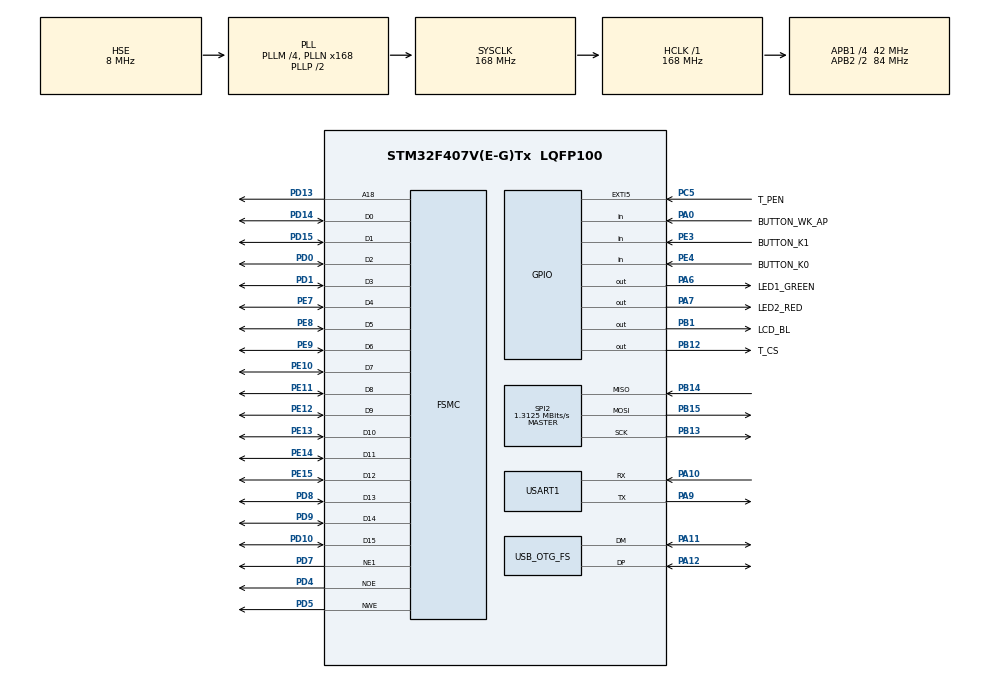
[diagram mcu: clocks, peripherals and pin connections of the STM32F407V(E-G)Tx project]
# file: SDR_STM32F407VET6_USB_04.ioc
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Mcu.Family=STM32F4
Mcu.Name=STM32F407V(E-G)Tx
Mcu.Package=LQFP100
NVIC.EXTI9_5_IRQn=true\:0\:0\:false\:false\:true\:true\:true\:true
NVIC.OTG_FS_IRQn=true\:0\:0\:false\:false\:true\:false\:true\:true
NVIC.PriorityGroup=NVIC_PRIORITYGROUP_4
PA0-WKUP.GPIO_Label=BUTTON_WK_AP
PA0-WKUP.Signal=GPIO_Input
PA10.Mode=Asynchronous
PA10.Signal=USART1_RX
PA11.Mode=Host_Only
PA11.Signal=USB_OTG_FS_DM
PA12.Mode=Host_Only
PA12.Signal=USB_OTG_FS_DP
PA6.GPIO_Label=LED1_GREEN
PA6.Signal=GPIO_Output
PA7.GPIO_Label=LED2_RED
PA7.Signal=GPIO_Output
PA9.Mode=Asynchronous
PA9.Signal=USART1_TX
PB1.GPIO_Label=LCD_BL
PB1.Signal=GPIO_Output
PB12.GPIO_Label=T_CS
PB12.GPIO_PuPd=GPIO_PULLUP
PB12.GPIO_Speed=GPIO_SPEED_FREQ_HIGH
PB12.PinState=GPIO_PIN_SET
PB12.Signal=GPIO_Output
PB13.Mode=Full_Duplex_Master
PB13.Signal=SPI2_SCK
PB14.Mode=Full_Duplex_Master
PB14.Signal=SPI2_MISO
PB15.Mode=Full_Duplex_Master
PB15.Signal=SPI2_MOSI
PC5.GPIO_Label=T_PEN
PC5.GPIO_ModeDefaultEXTI=GPIO_MODE_IT_FALLING
PC5.GPIO_PuPd=GPIO_PULLUP
PC5.Signal=GPXTI5
PD0.Mode=16b-d1
PD0.Signal=FSMC_D2
PD1.Mode=16b-d1
PD1.Signal=FSMC_D3
PD10.Mode=16b-d1
PD10.Signal=FSMC_D15
PD13.Mode=A18_1
PD13.Signal=FSMC_A18
PD14.Mode=16b-d1
PD14.Signal=FSMC_D0
PD15.Mode=16b-d1
PD15.Signal=FSMC_D1
PD4.Mode=Lcd1
PD4.Signal=FSMC_NOE
PD5.Mode=Lcd1
PD5.Signal=FSMC_NWE
PD7.Mode=NorPsramChipSelect1_1
PD7.Signal=FSMC_NE1
PD8.Mode=16b-d1
PD8.Signal=FSMC_D13
PD9.Mode=16b-d1
PD9.Signal=FSMC_D14
PE10.Mode=16b-d1
PE10.Signal=FSMC_D7
PE11.Mode=16b-d1
PE11.Signal=FSMC_D8
PE12.Mode=16b-d1
PE12.Signal=FSMC_D9
PE13.Mode=16b-d1
PE13.Signal=FSMC_D10
PE14.Mode=16b-d1
PE14.Signal=FSMC_D11
PE15.Mode=16b-d1
PE15.Signal=FSMC_D12
PE3.GPIO_Label=BUTTON_K1
PE3.Signal=GPIO_Input
PE4.GPIO_Label=BUTTON_K0
PE4.Signal=GPIO_Input
PE7.Mode=16b-d1
PE7.Signal=FSMC_D4
PE8.Mode=16b-d1
PE8.Signal=FSMC_D5
PE9.Mode=16b-d1
PE9.Signal=FSMC_D6
PH0-OSC_IN.Mode=HSE-External-Oscillator
PH0-OSC_IN.Signal=RCC_OSC_IN
PH1-OSC_OUT.Mode=HSE-External-Oscillator
PH1-OSC_OUT.Signal=RCC_OSC_OUT
ProjectManager.HeapSize=0x400
ProjectManager.StackSize=0x400
ProjectManager.TargetToolchain=MDK-ARM V5.32
RCC.48MHZClocksFreq_Value=48000000
RCC.AHBFreq_Value=168000000
RCC.APB1CLKDivider=RCC_HCLK_DIV4
RCC.APB1Freq_Value=42000000
RCC.APB1TimFreq_Value=84000000
RCC.APB2CLKDivider=RCC_HCLK_DIV2
RCC.APB2Freq_Value=84000000
RCC.APB2TimFreq_Value=168000000
RCC.CortexFreq_Value=168000000
RCC.HCLKFreq_Value=168000000
RCC.HSE_VALUE=8000000
RCC.HSICalibrationValue=8
RCC.HSI_VALUE=16000000
RCC.LSE_VALUE=32768
RCC.PLLM=4
RCC.PLLN=168
RCC.PLLQ=7
RCC.SYSCLKFreq_VALUE=168000000
RCC.SYSCLKSource=RCC_SYSCLKSOURCE_PLLCLK
RCC.VCOOutputFreq_Value=336000000
SPI2.BaudRatePrescaler=SPI_BAUDRATEPRESCALER_32
SPI2.CalculateBaudRate=1.3125 MBits/s
SPI2.Direction=SPI_DIRECTION_2LINES
SPI2.Mode=SPI_MODE_MASTER
SPI2.VirtualType=VM_MASTER
TIM3.Channel-Output\ Compare1\ No\ Output=TIM_CHANNEL_1
USART1.VirtualMode=VM_ASYNC
USB_HOST.USBH_DEBUG_LEVEL-HID_FS=2
USB_HOST.USBH_HandleTypeDef-HID_FS=hUsbHostFS
USB_HOST.VirtualModeFS=Hid
USB_OTG_FS.VirtualMode=Host_Only
USB_OTG_FS.phy_itface=HCD_PHY_EMBEDDED
VP_TIM3_VS_ClockSourceINT.Mode=Internal
VP_TIM3_VS_no_output1.Mode=Output Compare1 No Output
VP_USB_HOST_VS_USB_HOST_HID_FS.Mode=HID_FS
board=custom

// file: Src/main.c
/* USER CODE BEGIN Header */
/**
  ******************************************************************************
  * @file           : main.c
  * @brief          : Main program body
  ******************************************************************************
  * @attention
  *
  * Copyright (c) 2023 STMicroelectronics.
  * All rights reserved.
  *
  * This software is licensed under terms that can be found in the LICENSE file
  * in the root directory of this software component.
  * If no LICENSE file comes with this software, it is provided AS-IS.
  *
  ******************************************************************************
  */
/* USER CODE END Header */
#include "main.h"
#include "usb_host.h"

/* USER CODE BEGIN Includes */

#include "stdint.h"
#include "string.h"
#include <stdlib.h>
#include <stdio.h>

#include "XPT2046_touch.h"
#include "ili9341.h"

/* USER CODE END Includes */

/* USER CODE BEGIN PTD */

GPIO_TypeDef* GPIO_PORT[LEDn] = {LED1_GREEN_GPIO_Port,
                                 LED2_RED_GPIO_Port};

const uint16_t GPIO_PIN[LEDn] = {LED1_GREEN_Pin,
	                               LED2_RED_Pin};

void BSP_LED_On(Led_TypeDef Led)
{
  HAL_GPIO_WritePin(GPIO_PORT[Led], GPIO_PIN[Led], GPIO_PIN_RESET);
}

void BSP_LED_Off(Led_TypeDef Led)
{
  HAL_GPIO_WritePin(GPIO_PORT[Led], GPIO_PIN[Led], GPIO_PIN_SET);
}

void BSP_LED_Toggle(Led_TypeDef Led)
{
  HAL_GPIO_TogglePin(GPIO_PORT[Led], GPIO_PIN[Led]);
}

GPIO_TypeDef* BUTTON_PORT[BUTTONn] = {BUTTON_WK_AP_GPIO_Port,
                                      BUTTON_K0_GPIO_Port,
                                      BUTTON_K1_GPIO_Port};

const uint16_t BUTTON_PIN[BUTTONn] = {BUTTON_WK_AP_Pin,
                                      BUTTON_K0_Pin,
                                      BUTTON_K1_Pin};

const uint16_t BUTTON_IRQn[BUTTONn] = {BUTTON_WK_AP_EXTI_IRQn,
                                       BUTTON_K0_EXTI_IRQn,
                                       BUTTON_K1_EXTI_IRQn};

uint32_t BSP_PB_GetState(Button_TypeDef Button)
{
  return HAL_GPIO_ReadPin(BUTTON_PORT[Button], BUTTON_PIN[Button]);
}

/* USER CODE END PTD */

/* USER CODE BEGIN PD */

USBH_HandleTypeDef hUSBHost;
uint8_t currentScreen=0;

/* USER CODE END PD */

SPI_HandleTypeDef hspi2;

TIM_HandleTypeDef htim3;

UART_HandleTypeDef huart1;

SRAM_HandleTypeDef hsram1;

/* USER CODE BEGIN PV */

	#ifdef __GNUC__
  /* With GCC, small printf (option LD Linker->Libraries->Small printf
     set to 'Yes') calls __io_putchar() */
  #define PUTCHAR_PROTOTYPE int __io_putchar(int ch)
#else
  #define PUTCHAR_PROTOTYPE int fputc(int ch, FILE *f)
#endif /* __GNUC__ */

	static void USBH_UserProcess(USBH_HandleTypeDef *phost, uint8_t id);

/* USER CODE END PV */

void SystemClock_Config(void);
static void MX_GPIO_Init(void);
static void MX_USART1_UART_Init(void);
static void MX_FSMC_Init(void);
static void MX_SPI2_Init(void);
static void MX_TIM3_Init(void);
void MX_USB_HOST_Process(void);

/* USER CODE BEGIN 0 */
 uint16_t x = 0, y = 0;
 uint16_t xx = 0, y1 = 0;

 char str1[20];
 char str2[20];
 char str3[20];
 char str4[20];
 char str[20];
 bool flag1;
 uint16_t strw;
/* USER CODE END 0 */

int main(void)
{

  /* MCU Configuration--------------------------------------------------------*/

  /* Reset of all peripherals, Initializes the Flash interface and the Systick. */
  HAL_Init();

  /* Configure the system clock */
  SystemClock_Config();

  /* Initialize all configured peripherals */
  MX_GPIO_Init();
  MX_USART1_UART_Init();
  MX_USB_HOST_Init();
  MX_FSMC_Init();
  MX_SPI2_Init();
  MX_TIM3_Init();
  /* USER CODE BEGIN 2 */
	BSP_LED_Off(LED1);
	BSP_LED_Off(LED2);
	HAL_Delay(200);
	BSP_LED_On(LED1);
	BSP_LED_On(LED2);
	HAL_Delay(200);
	BSP_LED_Off(LED1);
	BSP_LED_Off(LED2);
	printf("Start system\r\n");

	lcdBacklightOn();
  lcdInit();
  lcdSetOrientation(LCD_ORIENTATION_LANDSCAPE);
  lcdFillRGB(COLOR_WHITE);

	lcdSetTextFont(&Font16);
	lcdSetTextColor(COLOR_WHITE, COLOR_BLUE);
	lcdFillRect(0,0,319,20,COLOR_BLUE);
	lcdSetCursor(2, 5);   // xy

	#ifdef USE_USB_HS
		//LCD_LOG_SetHeader((uint8_t *)" USB OTG HS RTLSDR Host");
		lcdPrintf(" STM32F4 USB HS RTL-SDR Host");
	#else
		lcdPrintf(" STM32F4 USB FS RTL-SDR Host");
	#endif

 //Start_TFT();// Test TFT

	  /* Init Host Library */
	 USBH_Init(&hUSBHost, USBH_UserProcess, 0);
	 /* Add Supported Class */
   USBH_RegisterClass(&hUSBHost, USBH_RTLSDR_CLASS);

	 /* Start Host Process */
   USBH_Start(&hUSBHost);

	 RTLSDR_HandleTypeDef *RTLSDR_Handle = (RTLSDR_HandleTypeDef*) hUSBHost.pActiveClass->pData;

//	uint8_t start_text[]="Hello from start\n\r";
//	HAL_UART_Transmit(&huart1,start_text,20,0xFFFF);

   printf("Start system END\r\n");
  /* USER CODE END 2 */

  /* Infinite loop */
  while (1)
  {
    MX_USB_HOST_Process();

    /* USER CODE BEGIN 3 */

		 USBH_Process(&hUSBHost);

//			if (RTLSDR_Handle->xferState==RTLSDR_XFER_COMPLETE)
//			{
//		    USBH_UsrLog("St %d", *RTLSDR_Handle);
//		    RTLSDR_Handle->xferState = RTLSDR_XFER_START;
//	    }

       if (flag1 ==1)         //  Флаг по которому мы определяем, что сработало прерывание
       {
        flag1 =0;     // Сбрасываем установившийся в подпрограмме прерывания флаг
    //    Test_TFT();
			 }
  }
  /* USER CODE END 3 */
}

void SystemClock_Config(void)
{
  RCC_OscInitTypeDef RCC_OscInitStruct = {0};
  RCC_ClkInitTypeDef RCC_ClkInitStruct = {0};

  /** Configure the main internal regulator output voltage
  */
  __HAL_RCC_PWR_CLK_ENABLE();
  __HAL_PWR_VOLTAGESCALING_CONFIG(PWR_REGULATOR_VOLTAGE_SCALE1);

  /** Initializes the RCC Oscillators according to the specified parameters
  * in the RCC_OscInitTypeDef structure.
  */
  RCC_OscInitStruct.OscillatorType = RCC_OSCILLATORTYPE_HSE;
  RCC_OscInitStruct.HSEState = RCC_HSE_ON;
  RCC_OscInitStruct.PLL.PLLState = RCC_PLL_ON;
  RCC_OscInitStruct.PLL.PLLSource = RCC_PLLSOURCE_HSE;
  RCC_OscInitStruct.PLL.PLLM = 4;
  RCC_OscInitStruct.PLL.PLLN = 168;
  RCC_OscInitStruct.PLL.PLLP = RCC_PLLP_DIV2;
  RCC_OscInitStruct.PLL.PLLQ = 7;
  if (HAL_RCC_OscConfig(&RCC_OscInitStruct) != HAL_OK)
  {
    Error_Handler();
  }

  /** Initializes the CPU, AHB and APB buses clocks
  */
  RCC_ClkInitStruct.ClockType = RCC_CLOCKTYPE_HCLK|RCC_CLOCKTYPE_SYSCLK
                              |RCC_CLOCKTYPE_PCLK1|RCC_CLOCKTYPE_PCLK2;
  RCC_ClkInitStruct.SYSCLKSource = RCC_SYSCLKSOURCE_PLLCLK;
  RCC_ClkInitStruct.AHBCLKDivider = RCC_SYSCLK_DIV1;
  RCC_ClkInitStruct.APB1CLKDivider = RCC_HCLK_DIV4;
  RCC_ClkInitStruct.APB2CLKDivider = RCC_HCLK_DIV2;

  if (HAL_RCC_ClockConfig(&RCC_ClkInitStruct, FLASH_LATENCY_5) != HAL_OK)
  {
    Error_Handler();
  }
}

static void MX_SPI2_Init(void)
{

  /* SPI2 parameter configuration*/
  hspi2.Instance = SPI2;
  hspi2.Init.Mode = SPI_MODE_MASTER;
  hspi2.Init.Direction = SPI_DIRECTION_2LINES;
  hspi2.Init.DataSize = SPI_DATASIZE_8BIT;
  hspi2.Init.CLKPolarity = SPI_POLARITY_LOW;
  hspi2.Init.CLKPhase = SPI_PHASE_1EDGE;
  hspi2.Init.NSS = SPI_NSS_SOFT;
  hspi2.Init.BaudRatePrescaler = SPI_BAUDRATEPRESCALER_32;
  hspi2.Init.FirstBit = SPI_FIRSTBIT_MSB;
  hspi2.Init.TIMode = SPI_TIMODE_DISABLE;
  hspi2.Init.CRCCalculation = SPI_CRCCALCULATION_DISABLE;
  hspi2.Init.CRCPolynomial = 10;
  if (HAL_SPI_Init(&hspi2) != HAL_OK)
  {
    Error_Handler();
  }

}

static void MX_TIM3_Init(void)
{

  TIM_ClockConfigTypeDef sClockSourceConfig = {0};
  TIM_MasterConfigTypeDef sMasterConfig = {0};
  TIM_OC_InitTypeDef sConfigOC = {0};

  htim3.Instance = TIM3;
  htim3.Init.Prescaler = 0;
  htim3.Init.CounterMode = TIM_COUNTERMODE_UP;
  htim3.Init.Period = 65535;
  htim3.Init.ClockDivision = TIM_CLOCKDIVISION_DIV1;
  htim3.Init.AutoReloadPreload = TIM_AUTORELOAD_PRELOAD_DISABLE;
  if (HAL_TIM_Base_Init(&htim3) != HAL_OK)
  {
    Error_Handler();
  }
  sClockSourceConfig.ClockSource = TIM_CLOCKSOURCE_INTERNAL;
  if (HAL_TIM_ConfigClockSource(&htim3, &sClockSourceConfig) != HAL_OK)
  {
    Error_Handler();
  }
  if (HAL_TIM_OC_Init(&htim3) != HAL_OK)
  {
    Error_Handler();
  }
  sMasterConfig.MasterOutputTrigger = TIM_TRGO_RESET;
  sMasterConfig.MasterSlaveMode = TIM_MASTERSLAVEMODE_DISABLE;
  if (HAL_TIMEx_MasterConfigSynchronization(&htim3, &sMasterConfig) != HAL_OK)
  {
    Error_Handler();
  }
  sConfigOC.OCMode = TIM_OCMODE_TIMING;
  sConfigOC.Pulse = 0;
  sConfigOC.OCPolarity = TIM_OCPOLARITY_HIGH;
  sConfigOC.OCFastMode = TIM_OCFAST_DISABLE;
  if (HAL_TIM_OC_ConfigChannel(&htim3, &sConfigOC, TIM_CHANNEL_1) != HAL_OK)
  {
    Error_Handler();
  }

}

static void MX_USART1_UART_Init(void)
{

  huart1.Instance = USART1;
  huart1.Init.BaudRate = 115200;
  huart1.Init.WordLength = UART_WORDLENGTH_8B;
  huart1.Init.StopBits = UART_STOPBITS_1;
  huart1.Init.Parity = UART_PARITY_NONE;
  huart1.Init.Mode = UART_MODE_TX_RX;
  huart1.Init.HwFlowCtl = UART_HWCONTROL_NONE;
  huart1.Init.OverSampling = UART_OVERSAMPLING_16;
  if (HAL_UART_Init(&huart1) != HAL_OK)
  {
    Error_Handler();
  }

}

static void MX_GPIO_Init(void)
{
  GPIO_InitTypeDef GPIO_InitStruct = {0};

  /* GPIO Ports Clock Enable */
  __HAL_RCC_GPIOE_CLK_ENABLE();
  __HAL_RCC_GPIOH_CLK_ENABLE();
  __HAL_RCC_GPIOA_CLK_ENABLE();
  __HAL_RCC_GPIOC_CLK_ENABLE();
  __HAL_RCC_GPIOB_CLK_ENABLE();
  __HAL_RCC_GPIOD_CLK_ENABLE();

  /*Configure GPIO pin Output Level */
  HAL_GPIO_WritePin(GPIOA, LED1_GREEN_Pin|LED2_RED_Pin, GPIO_PIN_RESET);

  /*Configure GPIO pin Output Level */
  HAL_GPIO_WritePin(LCD_BL_GPIO_Port, LCD_BL_Pin, GPIO_PIN_RESET);

  /*Configure GPIO pin Output Level */
  HAL_GPIO_WritePin(T_CS_GPIO_Port, T_CS_Pin, GPIO_PIN_SET);

  /*Configure GPIO pins : BUTTON_K1_Pin BUTTON_K0_Pin */
  GPIO_InitStruct.Pin = BUTTON_K1_Pin|BUTTON_K0_Pin;
  GPIO_InitStruct.Mode = GPIO_MODE_INPUT;
  GPIO_InitStruct.Pull = GPIO_NOPULL;
  HAL_GPIO_Init(GPIOE, &GPIO_InitStruct);

  /*Configure GPIO pin : BUTTON_WK_AP_Pin */
  GPIO_InitStruct.Pin = BUTTON_WK_AP_Pin;
  GPIO_InitStruct.Mode = GPIO_MODE_INPUT;
  GPIO_InitStruct.Pull = GPIO_NOPULL;
  HAL_GPIO_Init(BUTTON_WK_AP_GPIO_Port, &GPIO_InitStruct);

  /*Configure GPIO pins : LED1_GREEN_Pin LED2_RED_Pin */
  GPIO_InitStruct.Pin = LED1_GREEN_Pin|LED2_RED_Pin;
  GPIO_InitStruct.Mode = GPIO_MODE_OUTPUT_PP;
  GPIO_InitStruct.Pull = GPIO_NOPULL;
  GPIO_InitStruct.Speed = GPIO_SPEED_FREQ_LOW;
  HAL_GPIO_Init(GPIOA, &GPIO_InitStruct);

  /*Configure GPIO pin : T_PEN_Pin */
  GPIO_InitStruct.Pin = T_PEN_Pin;
  GPIO_InitStruct.Mode = GPIO_MODE_IT_FALLING;
  GPIO_InitStruct.Pull = GPIO_PULLUP;
  HAL_GPIO_Init(T_PEN_GPIO_Port, &GPIO_InitStruct);

  /*Configure GPIO pin : LCD_BL_Pin */
  GPIO_InitStruct.Pin = LCD_BL_Pin;
  GPIO_InitStruct.Mode = GPIO_MODE_OUTPUT_PP;
  GPIO_InitStruct.Pull = GPIO_NOPULL;
  GPIO_InitStruct.Speed = GPIO_SPEED_FREQ_LOW;
  HAL_GPIO_Init(LCD_BL_GPIO_Port, &GPIO_InitStruct);

  /*Configure GPIO pin : T_CS_Pin */
  GPIO_InitStruct.Pin = T_CS_Pin;
  GPIO_InitStruct.Mode = GPIO_MODE_OUTPUT_PP;
  GPIO_InitStruct.Pull = GPIO_PULLUP;
  GPIO_InitStruct.Speed = GPIO_SPEED_FREQ_HIGH;
  HAL_GPIO_Init(T_CS_GPIO_Port, &GPIO_InitStruct);

  /* EXTI interrupt init*/
  HAL_NVIC_SetPriority(EXTI9_5_IRQn, 0, 0);
  HAL_NVIC_EnableIRQ(EXTI9_5_IRQn);

}

/* FSMC initialization function */
static void MX_FSMC_Init(void)
{

  FSMC_NORSRAM_TimingTypeDef Timing = {0};

  /** Perform the SRAM1 memory initialization sequence
  */
  hsram1.Instance = FSMC_NORSRAM_DEVICE;
  hsram1.Extended = FSMC_NORSRAM_EXTENDED_DEVICE;
  /* hsram1.Init */
  hsram1.Init.NSBank = FSMC_NORSRAM_BANK1;
  hsram1.Init.DataAddressMux = FSMC_DATA_ADDRESS_MUX_DISABLE;
  hsram1.Init.MemoryType = FSMC_MEMORY_TYPE_SRAM;
  hsram1.Init.MemoryDataWidth = FSMC_NORSRAM_MEM_BUS_WIDTH_16;
  hsram1.Init.BurstAccessMode = FSMC_BURST_ACCESS_MODE_DISABLE;
  hsram1.Init.WaitSignalPolarity = FSMC_WAIT_SIGNAL_POLARITY_LOW;
  hsram1.Init.WrapMode = FSMC_WRAP_MODE_DISABLE;
  hsram1.Init.WaitSignalActive = FSMC_WAIT_TIMING_BEFORE_WS;
  hsram1.Init.WriteOperation = FSMC_WRITE_OPERATION_ENABLE;
  hsram1.Init.WaitSignal = FSMC_WAIT_SIGNAL_DISABLE;
  hsram1.Init.ExtendedMode = FSMC_EXTENDED_MODE_DISABLE;
  hsram1.Init.AsynchronousWait = FSMC_ASYNCHRONOUS_WAIT_DISABLE;
  hsram1.Init.WriteBurst = FSMC_WRITE_BURST_DISABLE;
  hsram1.Init.PageSize = FSMC_PAGE_SIZE_NONE;
  /* Timing */
  Timing.AddressSetupTime = 15;
  Timing.AddressHoldTime = 15;
  Timing.DataSetupTime = 255;
  Timing.BusTurnAroundDuration = 15;
  Timing.CLKDivision = 16;
  Timing.DataLatency = 17;
  Timing.AccessMode = FSMC_ACCESS_MODE_A;
  /* ExtTiming */

  if (HAL_SRAM_Init(&hsram1, &Timing, NULL) != HAL_OK)
  {
    Error_Handler( );
  }

}

/* USER CODE BEGIN 4 */

PUTCHAR_PROTOTYPE
{
  /* Place your implementation of fputc here */
  /* e.g. write a character to the EVAL_COM1 and Loop until the end of transmission */
  HAL_UART_Transmit(&huart1, (uint8_t *)&ch, 1, 0xFFFF);

  return ch;
}

void HAL_GPIO_EXTI_Callback (uint16_t GPIO_Pin)
{
  if (GPIO_Pin ==T_PEN_Pin)
	{
  	if(XPT2046_TouchPressed())
		{
			if(XPT2046_TouchGetCoordinates(&x, &y))
			{
				flag1=1;   // если нажали на экран выставляем флаг срабатывания нажатия
				lcdDrawPixel(x, y, COLOR_RED); // будет рисоваться точка при нажании на экран
			}
		}
	}
}

  uint8_t id_prev = HOST_USER_SELECT_CONFIGURATION;

static void USBH_UserProcess(USBH_HandleTypeDef *phost, uint8_t id)
{
  if (id != id_prev)
		{
    switch(id) {
    case HOST_USER_SELECT_CONFIGURATION:
      USBH_UsrLog("Select config");
      break;

    case HOST_USER_CLASS_ACTIVE:
      USBH_UsrLog("Class active");

      break;

    case HOST_USER_CLASS_SELECTED:
      USBH_UsrLog("Class selected");
      break;

    case HOST_USER_CONNECTION:
      USBH_UsrLog("Connection");
      break;

    case HOST_USER_DISCONNECTION:
      USBH_UsrLog("Disconnection");
      break;

    case HOST_USER_UNRECOVERED_ERROR:
      USBH_UsrLog("Unrecovered Error");
      break;

    default:
    USBH_UsrLog("Unknown USBH User State: %d", id);
      break;
    }
  }
  id_prev = id;

  /*RTLSDR_HandleTypeDef *RTLSDR_Handle =
		(RTLSDR_HandleTypeDef*) phost->pActiveClass->pData;

  if (phost->gState==HOST_CLASS) {
		if (RTLSDR_Handle->xferState==RTLSDR_XFER_COMPLETE) {
			USBH_UsrLog("St %d", *RTLSDR_Handle);
			//RTLSDR_Handle->xferState = RTLSDR_XFER_START;
		}

	}*/

}
void Start_TFT(void)
{
//	lcdBacklightOn();
//	lcdInit();
//	lcdSetOrientation(LCD_ORIENTATION_LANDSCAPE);
//	lcdFillRGB(COLOR_WHITE);

	// Пишем текст сверху экрана
	lcdSetTextFont(&Font20);
	lcdSetTextColor(COLOR_BLACK, COLOR_WHITE);
	lcdSetCursor(50, 5);   // xy
	lcdPrintf("www.stm32res.ru");
	// Начинаем рисовать рамки
	lcdDrawRect(50,70,230,30,COLOR_BLUE);

	lcdDrawRect(30,120,40,30,COLOR_BLUE);  //lcdDrawRect(x, y, w, h, color)
	lcdDrawRect(75,120,40,30,COLOR_BLUE);
	lcdDrawRect(120,120,40,30,COLOR_BLUE);
	lcdDrawRect(165,120,40,30,COLOR_BLUE);
	lcdDrawRect(210,120,40,30,COLOR_BLUE);
	lcdDrawRect(255,120,50,30,COLOR_BLUE);

	lcdDrawRect(30,155,40,30,COLOR_BLUE);  //lcdDrawRect(x, y, w, h, color)
	lcdDrawRect(75,155,40,30,COLOR_BLUE);
	lcdDrawRect(120,155,40,30,COLOR_BLUE);
	lcdDrawRect(165,155,40,30,COLOR_BLUE);
	lcdDrawRect(210,155,40,30,COLOR_BLUE);
	lcdDrawRect(255,155,50,30,COLOR_BLUE);
	// Начинаем заполнять рамки цифрами
	lcdSetTextFont(&Font24);
	lcdSetTextColor(COLOR_BLACK, COLOR_WHITE);

	lcdSetCursor(45, 125);   // x
	lcdPrintf("1");
	lcdSetCursor(90, 125);   // x
	lcdPrintf("2");
	lcdSetCursor(135, 125);   // x
	lcdPrintf("3");
	lcdSetCursor(180, 125);   // x
	lcdPrintf("4");
	lcdSetCursor(225, 125);   // x
	lcdPrintf("5");

	lcdSetCursor(45, 160);   // x
	lcdPrintf("6");
	lcdSetCursor(90, 160);   // x
	lcdPrintf("7");
	lcdSetCursor(135, 160);   // x
	lcdPrintf("8");
	lcdSetCursor(180, 160);   // x
	lcdPrintf("9");
	lcdSetCursor(225, 160);   // x
	lcdPrintf("0");

	lcdSetCursor(263, 125);   // x
	lcdPrintf("<-");

	lcdSetTextFont(&Font20);
	lcdSetCursor(265, 160);   // x
	lcdPrintf("Ok");

}

void Test_TFT(void)
{
	// проверяем в какую область нажали на экране. Нас интересует только
	// внутренняя площадь рамок

	if(x>=31 && x<=65)   // Координаты по х
	{
	if(y>=119 && y<=146)  // Координаты по y
	{
	xx =1;                 // Если попали то передаем переменной - номер 1
	sprintf(str3,"%u",xx);
	strcat(str,str3);      // Добавляем символ к общей строчке
	strw =strlen(str);
	sprintf(str4,"%u",strw);
	}
	}

	if(x>=80 && x<=109)
	{
	if(y>=111 && y<=148)
	{
	xx =2;
	sprintf(str3,"%u",xx);
	strcat(str,str3);
	strw =strlen(str);
	sprintf(str4,"%u",strw);
	}
	}

	if(x>=131 && x<=158)
	{
	if(y>=109 && y<=151)
	{
	xx =3;
	sprintf(str3,"%u",xx);
	strcat(str,str3);
	strw =strlen(str);
	sprintf(str4,"%u",strw);
	}
	}

	if(x>=166 && x<=203)
	{
	if(y>=120 && y<=151)
	{
	xx =4;
	sprintf(str3,"%u",xx);
	strcat(str,str3);
	strw =strlen(str);
	sprintf(str4,"%u",strw);
	}
	}

	if(x>=201 && x<=250)
	{
	if(y>=110 && y<=151)
	{
	xx =5;
	sprintf(str3,"%u",xx);
	strcat(str,str3);
	strw =strlen(str);
	sprintf(str4,"%u",strw);
	}
	}

	if(x>=32 && x<=80)
	{
	if(y>=156 && y<=181)
	{
	xx =6;
	sprintf(str3,"%u",xx);
	strcat(str,str3);
	strw =strlen(str);
	sprintf(str4,"%u",strw);
	}
	}

	if(x>=78 && x<=110)
	{
	if(y>=150 && y<=181)
	{
	xx =7;
	sprintf(str3,"%u",xx);
	strcat(str,str3);
	strw =strlen(str);
	sprintf(str4,"%u",strw);
	}
	}

	if(x>=121 && x<=165)
	{
	if(y>=145 && y<=181)
	{
	xx =8;
	sprintf(str3,"%u",xx);
	strcat(str,str3);
	strw =strlen(str);
	sprintf(str4,"%u",strw);
	}
	}

	if(x>=168 && x<=203)
	{
	if(y>=156 && y<=181)
	{
	xx =9;
	sprintf(str3,"%u",xx);
	strcat(str,str3);
	strw =strlen(str);
	sprintf(str4,"%u",strw);
	}
	}

	if(x>=212 && x<=247)
	{
	if(y>=156 && y<=181)
	{
	xx =0;
	sprintf(str3,"%u",xx);
	strcat(str,str3);
	strw =strlen(str);
	sprintf(str4,"%u",strw);
	}
	}

	if(x>=255 && x<=280)
	{
	if(y>=119 && y<=150)
	{
	// Эту рамку назначьте самостоятельно
	}
	//
	}

		// Выводим то что врамках
		lcdSetTextFont(&Font20);
		lcdSetCursor(60, 78);   // x,y
		lcdPrintf(str) ;

		lcdSetTextFont(&Font20);
		lcdSetCursor(60, 200);   // x,y
		lcdPrintf(str1) ; //"x= "

		lcdSetTextFont(&Font20);
		lcdSetCursor(180, 200);   // x,y
		lcdPrintf(str2); //"y= "

		lcdSetTextFont(&Font20);
		lcdSetCursor(285, 75);   // x,y
		lcdPrintf(str4);

}

/* USER CODE END 4 */

void Error_Handler(void)
{
  /* USER CODE BEGIN Error_Handler_Debug */
  /* User can add his own implementation to report the HAL error return state */

	BSP_LED_Toggle(LED2);
	HAL_Delay(100);
	BSP_LED_Toggle(LED2);
	HAL_Delay(100);
	BSP_LED_Toggle(LED2);
	HAL_Delay(100);
	BSP_LED_Toggle(LED2);

  __disable_irq();
  while (1)
  {
  }
  /* USER CODE END Error_Handler_Debug */
}
